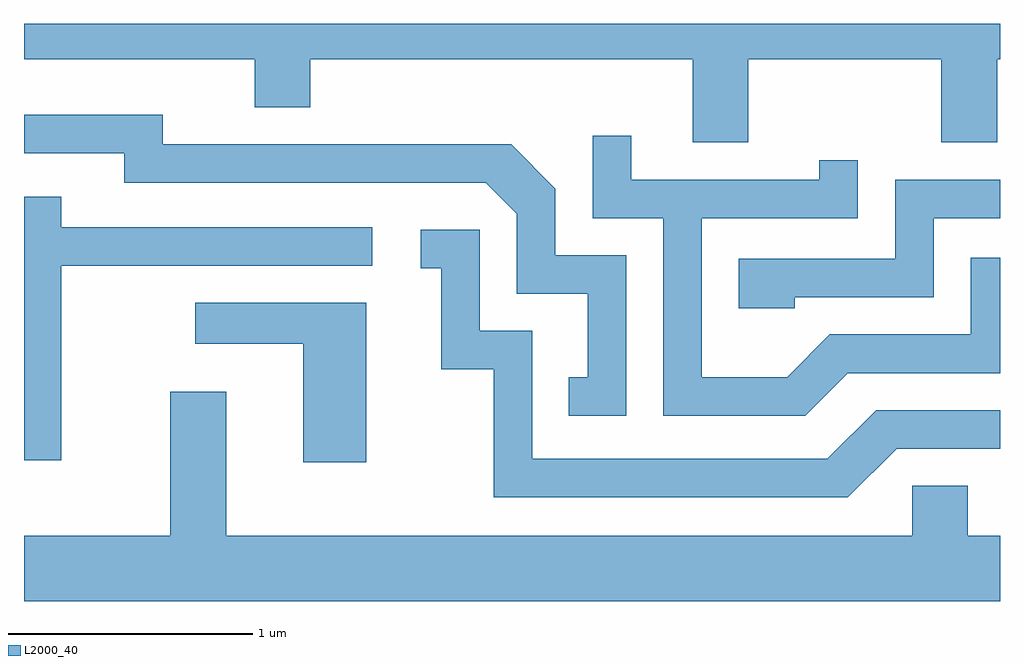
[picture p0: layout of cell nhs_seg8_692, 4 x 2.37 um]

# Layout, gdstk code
import gdstk
lib = gdstk.Library(unit=1e-6, precision=1e-09)
def P(c, l, *ps):  # polygons
    for p in ps: c.add(gdstk.Polygon(p, *l))
L2000_40 = (2000, 40)

nhs_seg8_692 = lib.new_cell('nhs_seg8_692')
P(nhs_seg8_692, L2000_40, [(208.579,1834.196),(209.371,1834.196),(209.371,1833.856),(209.599,1833.856),(209.599,1834.196),(209.611,1834.196),(209.611,1834.342),(205.611,1834.342),(205.611,1834.196),(206.556,1834.196),(206.556,1834.001),(206.784,1834.001),(206.784,1834.196),(208.351,1834.196),(208.351,1833.856),(208.579,1833.856)],
  [(208.079,1833.394),(207.789,1833.394),(207.789,1833.667),(207.607,1833.849),(206.179,1833.849),(206.179,1833.969),(205.611,1833.969),(205.611,1833.811),(206.021,1833.811),(206.021,1833.691),(207.504,1833.691),(207.631,1833.564),(207.631,1833.236),(207.921,1833.236),(207.921,1832.894),(207.843,1832.894),(207.843,1832.736),(208.079,1832.736)],
  [(208.987,1832.911),(209.611,1832.911),(209.611,1833.384),(209.491,1833.384),(209.491,1833.069),(208.914,1833.069),(208.739,1832.894),(208.389,1832.894),(208.389,1833.546),(209.029,1833.546),(209.029,1833.783),(208.871,1833.783),(208.871,1833.704),(208.099,1833.704),(208.099,1833.883),(207.941,1833.883),(207.941,1833.546),(208.231,1833.546),(208.231,1832.736),(208.812,1832.736)],
  [(208.769,1833.221),(209.339,1833.221),(209.339,1833.546),(209.611,1833.546),(209.611,1833.704),(209.181,1833.704),(209.181,1833.379),(208.541,1833.379),(208.541,1833.176),(208.769,1833.176)],
  [(205.764,1833.351),(207.038,1833.351),(207.038,1833.509),(205.764,1833.509),(205.764,1833.633),(205.611,1833.633),(205.611,1832.553),(205.764,1832.553)],
  [(209.187,1832.601),(209.611,1832.601),(209.611,1832.759),(209.104,1832.759),(208.904,1832.559),(207.694,1832.559),(207.694,1833.084),(207.479,1833.084),(207.479,1833.499),(207.238,1833.499),(207.238,1833.341),(207.321,1833.341),(207.321,1832.926),(207.536,1832.926),(207.536,1832.401),(208.987,1832.401)],
  [(207.014,1833.199),(206.313,1833.199),(206.313,1833.031),(206.756,1833.031),(206.756,1832.546),(207.014,1832.546)],
  [(209.611,1832.244),(209.479,1832.244),(209.479,1832.449),(209.251,1832.449),(209.251,1832.244),(206.439,1832.244),(206.439,1832.834),(206.211,1832.834),(206.211,1832.244),(205.611,1832.244),(205.611,1831.976),(209.611,1831.976)])

lib.write_gds('nhs_seg8_692.gds')
